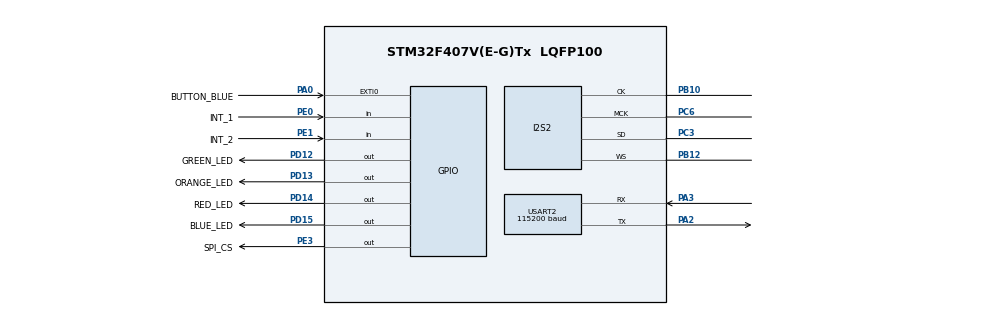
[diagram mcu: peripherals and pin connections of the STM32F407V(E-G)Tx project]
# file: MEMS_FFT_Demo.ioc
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Mcu.Family=STM32F4
PC3.Mode=Half_Duplex_Master
Dma.SPI2_RX.0.Instance=DMA1_Stream3
PD12.GPIO_Label=GREEN_LED
PH0-OSC_IN.Signal=RCC_OSC_IN
RCC.CortexFreq_Value=168000000
PB10.Mode=Half_Duplex_Master
PA2.GPIO_Speed=GPIO_SPEED_FREQ_MEDIUM
PA3.GPIO_Speed=GPIO_SPEED_FREQ_MEDIUM
RCC.SYSCLKSource=RCC_SYSCLKSOURCE_PLLCLK
ProjectManager.StackSize=0x400
PD13.Signal=GPIO_Output
RCC.HCLKFreq_Value=168000000
RCC.APB2TimFreq_Value=168000000
PC3.Signal=I2S2_SD
TIM3.Pulse-Output\ Compare1\ No\ Output=50000
PE1.Signal=GPIO_Input
RCC.AHBFreq_Value=168000000
PH0-OSC_IN.Mode=HSE-External-Oscillator
PE3.PinState=GPIO_PIN_SET
RCC.HSE_VALUE=8000000
PC14-OSC32_IN.Mode=LSE-External-Oscillator
PA14.Mode=Serial_Wire
TIM3.Prescaler=1679
Dma.SPI2_RX.0.MemDataAlignment=DMA_MDATAALIGN_HALFWORD
I2S2.DataFormat=I2S_DATAFORMAT_24B
Dma.SPI2_RX.0.MemInc=DMA_MINC_ENABLE
PH1-OSC_OUT.Mode=HSE-External-Oscillator
PD13.GPIO_Label=ORANGE_LED
Mcu.Package=LQFP100
PB12.Mode=Half_Duplex_Master
USART2.VirtualMode=VM_ASYNC
PD12.Signal=GPIO_Output
I2S2.Mode=I2S_MODE_MASTER_RX
PE0.GPIO_Label=INT_1
RCC.APB2CLKDivider=RCC_HCLK_DIV2
RCC.APB1TimFreq_Value=84000000
Dma.SPI2_RX.0.Direction=DMA_PERIPH_TO_MEMORY
Dma.Request0=SPI2_RX
PD15.Signal=GPIO_Output
PA3.Signal=USART2_RX
RCC.PLLSourceVirtual=RCC_PLLSOURCE_HSE
PC15-OSC32_OUT.Mode=LSE-External-Oscillator
I2S2.AudioFreq=I2S_AUDIOFREQ_48K
PD15.GPIO_Label=BLUE_LED
I2S2.Instance=SPI$Index
TIM3.Channel-Output\ Compare1\ No\ Output=TIM_CHANNEL_1
PDM2PCM.CHANNEL1_in_ptr_channels=1
Dma.SPI2_RX.0.Mode=DMA_CIRCULAR
PC6.Signal=I2S2_MCK
RCC.APB1CLKDivider=RCC_HCLK_DIV4
PC14-OSC32_IN.Signal=RCC_OSC32_IN
NVIC.USART2_IRQn=true\:0\:0\:false\:false\:true\:true\:true
USART2.BaudRate=115200
PA0-WKUP.GPIO_Label=BUTTON_BLUE
PA0-WKUP.Signal=GPXTI0
PA13.Signal=SYS_JTMS-SWDIO
PA3.Mode=Asynchronous
Dma.SPI2_RX.0.PeriphDataAlignment=DMA_PDATAALIGN_HALFWORD
ProjectManager.TargetToolchain=STM32CubeIDE
PC6.Mode=Master_Clock_Activated
I2S2.VirtualMode=I2S_MODE_MASTER
PDM2PCM.CHANNEL1_bit_order=PDM_FILTER_BIT_ORDER_MSB
PC15-OSC32_OUT.Signal=RCC_OSC32_OUT
PB10.Signal=I2S2_CK
TIM3.OC1Preload=DISABLE
PDM2PCM.CHANNEL1_out_ptr_channels=1
board=custom
VP_TIM3_VS_no_output1.Mode=Output Compare1 No Output
RCC.VCOOutputFreq_Value=336000000
PE1.GPIO_Label=INT_2
RCC.APB2Freq_Value=84000000
VP_PDM2PCM_VS_PDM2PCM.Mode=PDM2PCM_Channel
PH1-OSC_OUT.Signal=RCC_OSC_OUT
PD14.GPIO_Label=RED_LED
Dma.SPI2_RX.0.FIFOMode=DMA_FIFOMODE_DISABLE
PA13.Mode=Serial_Wire
Dma.SPI2_RX.0.Priority=DMA_PRIORITY_LOW
PE0.Signal=GPIO_Input
Mcu.Name=STM32F407V(E-G)Tx
PA2.Signal=USART2_TX
I2S2.FullDuplexMode=I2S_FULLDUPLEXMODE_DISABLE
PD14.Signal=GPIO_Output
RCC.48MHZClocksFreq_Value=84000000
RCC.SYSCLKFreq_VALUE=168000000
I2S2.ErrorAudioFreq=-2.34 %
PE3.GPIO_Speed=GPIO_SPEED_FREQ_MEDIUM
Dma.SPI2_RX.0.PeriphInc=DMA_PINC_DISABLE
PA14.Signal=SYS_JTCK-SWCLK
ProjectManager.HeapSize=0x200
RCC.HSI_VALUE=16000000
NVIC.PriorityGroup=NVIC_PRIORITYGROUP_4
RCC.PLLM=8
RCC.PLLN=336
PE3.Signal=GPIO_Output
PA2.Mode=Asynchronous
PA0-WKUP.GPIO_PuPd=GPIO_PULLDOWN
PE3.GPIO_Label=SPI_CS
NVIC.DMA1_Stream3_IRQn=true\:0\:0\:false\:false\:true\:false\:true
TIM3.TIM_MasterOutputTrigger=TIM_TRGO_OC1REF
RCC.APB1Freq_Value=42000000
VP_CRC_VS_CRC.Mode=CRC_Activate
I2S2.RealAudioFreq=46.875 KHz
I2S2.Standard=I2S_STANDARD_MSB
PB12.Signal=I2S2_WS

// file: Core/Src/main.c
//* USER CODE BEGIN Header */
/**
 ******************************************************************************
 * @file           : main.c
 * @brief          : Main program body
 ******************************************************************************
 * @attention
 *
 * <h2><center>&copy; Copyright (c) 2021 STMicroelectronics.
 * All rights reserved.</center></h2>
 *
 * This software component is licensed by ST under BSD 3-Clause license,
 * the "License"; You may not use this file except in compliance with the
 * License. You may obtain a copy of the License at:
 *                        opensource.org/licenses/BSD-3-Clause
 *
 ******************************************************************************
 */

/* GRUPPO 28 -> TOMMASO UGOLINI; RICCARDO PAOLINI; GIULIA KODRIC'; GIACOMO PETTA.
 *
 * 		PROGETTO 2
 *
 * ACCENNO ALLE SCELTE PROGETTUALI:
 * 		ABBIAMO DECISO DI FAR 'BLINKARE' IL LED ROSSO QUANDO LA TRASMISSIONE NON È ATTIVA.
 * 		INOLTRE QUANDO INTERROMPIAMO LA TRASMISSIONE METTIAMO IN PAUSA IL DMA
 * 		PER RISPARMIARE ENERGIA OLTRE AD INTERROMPERE L'ACCENSIONE DEI LED.
 * 		ABBIAMO ANCHE PENSATO DI INTRODURRE UNA DOPPIA SOGLIA AL POSTO DELLA SOGLIA SINGOLA
 * 		PER RIDURRE IL 'FLICKERING' DEI LED.
 */

/* USER CODE END Header */
#include "main.h"
#include "crc.h"
#include "dma.h"
#include "i2s.h"
#include "pdm2pcm.h"
#include "tim.h"
#include "usart.h"
#include "gpio.h"

/* USER CODE BEGIN Includes */
#include "stm32f4_discovery_lis3dsh.h"
#include <stdio.h>

#include <string.h>

#include <math.h>
#include "stm32f4xx.h"
#include "arm_math.h"
#include "math_helper.h"
#include "arm_const_structs.h"

#define FFT_SIZE 1024

//#define STREAM_RAW_DATA
//#define STREAM_FFT

/* USER CODE END Includes */

/* USER CODE BEGIN PTD */
typedef enum {FAILED = 0, PASSED = !FAILED} TestStatus;
/* USER CODE END PTD */

/* USER CODE BEGIN PD */
//#define __FPU_PRESENT             1U       /*!< FPU present                                   */
/* ----------------------------------------------------------------------
 * Defines for each of the tests performed
 * ------------------------------------------------------------------- */
/* USER CODE END PD */

/* USER CODE BEGIN PM */

typedef enum {STATE_IDLE,STATE_HALF,STATE_FULL} i2cState;

int16_t data_col[FFT_SIZE*2];
int counter_samples = 0;		//used as index for the array data_col
uint16_t txBuf[128];
uint16_t pdmRxBuf[128];
uint16_t MidBuffer[16];
uint8_t txstate = 0;
i2cState rxstate = 0;

// variables for the mean of each slice of the magnitude
float mean[4];

// transfer data from data to data_col
void append_data(uint16_t data)
{
	data_col[counter_samples++] = data;
}

float fft_in_buf[FFT_SIZE*2];		//FFT_SIZE=1024 -> size=2048
float signal_spectrum[FFT_SIZE/2];	//FFT_SIZE=1024 -> size=512
float fft_mag_out_buf[FFT_SIZE*2];	//FFT_SIZE=1024 -> size=2048

// UART variables
uint8_t dataReceived = 0;	//Indicates when data received and read from UART
uint8_t chRX = 0;	// contain character read from UART
char to_send[MAX_S];
uint8_t n_to_send=0;

// variable to indicate state
uint8_t streamActive = OFF;

// variables for FFT
uint32_t ifftFlag = 0;
uint32_t doBitReverse = 1;

/* USER CODE END PM */

void SystemClock_Config(void);

int main(void)
{

	/* MCU Configuration--------------------------------------------------------*/

	/* Reset of all peripherals, Initializes the Flash interface and the Systick. */
	HAL_Init();

	/* Configure the system clock */
	SystemClock_Config();

	/* Initialize all configured peripherals */
	MX_GPIO_Init();
	MX_DMA_Init();
	MX_TIM3_Init();
	MX_USART2_UART_Init();
	MX_I2S2_Init();
	MX_CRC_Init();
	MX_PDM2PCM_Init();
	/* USER CODE BEGIN 2 */

	//Configuring systick
	if (HAL_SYSTICK_Config(SystemCoreClock / (1000U / uwTickFreq)) > 0U){	//systick configuration
		return HAL_ERROR;
	}

	//Enabling UART Receiver Not Empty interrupt
	LL_USART_EnableIT_RXNE(USART2);
	//Enabling UART
	LL_USART_Enable(USART2);
	//Enabling microphone via I2S and using DMA to transfer data
	HAL_I2S_Receive_DMA(&hi2s2, &pdmRxBuf[0],64);
	HAL_I2S_DMAPause(&hi2s2);
	/* USER CODE END 2 */

	/* Infinite loop */
	/* USER CODE BEGIN WHILE */
	while (1)
	{

		//if i receive data from UART
		if (dataReceived == 1){
			dataReceived = 0;

			//if the received character is equal to what we expect
			if (chRX == START_CHAR) {
				streamActive = 1 - streamActive;	//toggling the value of streamActive

				printf("Stream Toggle\r\n");
			}
			else
				printf("Wrong command!\nPress 's' to start...\r\n");

			if(!streamActive){
				//Reset active LEDs
				HAL_I2S_DMAPause(&hi2s2);
				LL_GPIO_ResetOutputPin(GPIOD,LL_GPIO_PIN_15);
				LL_GPIO_ResetOutputPin(GPIOD,LL_GPIO_PIN_12);
				LL_GPIO_ResetOutputPin(GPIOD,LL_GPIO_PIN_13);
				LL_GPIO_ResetOutputPin(GPIOD,LL_GPIO_PIN_14);
			}

			if(streamActive)
				HAL_I2S_DMAResume(&hi2s2);
		}

		if(streamActive){

			// Initializing variables
			for(int i = 0; i < FFT_SIZE*2; i++){
				data_col[i] = 0;
				fft_mag_out_buf[i] = 0;
				fft_in_buf[i] = 0;

				switch (rxstate)
				{
				case STATE_HALF:
					PDM_Filter(&pdmRxBuf[0],&MidBuffer[0], &PDM1_filter_handler); 		//filtering
					for (int i=0; i<16;i++)
						append_data(MidBuffer[i]);	//transferring data from MidBuffer to data_col
					rxstate = STATE_IDLE;	//setting state to idle
					break;
				case STATE_FULL:
					PDM_Filter(&pdmRxBuf[64],&MidBuffer[0], &PDM1_filter_handler);	//filtering
					for (int i=0; i<16;i++)
						append_data(MidBuffer[i]); //transferring data from MidBuffer to data_col
					rxstate = STATE_IDLE;	//setting state to idle
					break;
				case STATE_IDLE:
					//do some task...
					break;
				}

				if(counter_samples >= FFT_SIZE){
					/* Copy data to preserve buffer content */
					for(int inx_data = 0; inx_data<FFT_SIZE; inx_data++)
						fft_in_buf[inx_data] = (float)data_col[inx_data];

					/* Reset index of the buffer accumulating PCM samples */
					counter_samples = 0;

					///// FFT
					arm_cfft_f32(&arm_cfft_sR_f32_len1024, fft_in_buf, ifftFlag, doBitReverse);

					///// MAGNITUDE
					arm_cmplx_mag_f32(fft_in_buf, fft_mag_out_buf, FFT_SIZE);

					/* Just keep the useful part of the spectrum (FFT points/2) */
					for(int inx_data = 0; inx_data<FFT_SIZE/2; inx_data++)
						signal_spectrum[inx_data] = fft_mag_out_buf[inx_data];

					/* Do your processing here */

					// data are already in signal_spectrum of size 512 float

					// dividing it into 4 parts means: 128 values for each part

					//mean for part 1
					arm_mean_f32(&signal_spectrum[0], MAG_SLICE_SIZE, &mean[FIRST_SLICE]);
					//mean for part 2
					arm_mean_f32(&signal_spectrum[MAG_SLICE_SIZE - 1], MAG_SLICE_SIZE, &mean[SECOND_SLICE]);
					//mean for part 3
					arm_mean_f32(&signal_spectrum[(MAG_SLICE_SIZE * 2) - 1], MAG_SLICE_SIZE, &mean[THIRD_SLICE]);
					//mean for part 4
					arm_mean_f32(&signal_spectrum[(MAG_SLICE_SIZE * 3) - 1], MAG_SLICE_SIZE, &mean[FOURTH_SLICE]);

					// now we have the means for every slice of the magnified spectrum in the array mean[]

					// data are ready to be transmitted

					// transmit via UART

					//using this function to put in the string to_send the message to send via UART
					sprintf(to_send,"MEAN_1:%2.2f\tMEAN_2:%2.2f\tMEAN_3:%2.2f\tMEAN_4:%2.2f\r\n", mean[FIRST_SLICE], mean[SECOND_SLICE], mean[THIRD_SLICE], mean[FOURTH_SLICE]);
					//calculating length of the string to send via UART
					n_to_send=(uint8_t)strlen(to_send);

					LL_USART_EnableIT_TC(USART2); //enableTX interrupt

					// BLUE_LED ON if mean[FIRST_SLICE] higher than HIGH THRESHOLD
					if(mean[FIRST_SLICE] > H_THRESHOLD)
						LL_GPIO_SetOutputPin(GPIOD,LL_GPIO_PIN_15);
					// BLUE_LED OFF if mean[FIRST_SLICE] lower than LOW THRESHOLD
					else if(mean[FIRST_SLICE] < L_THRESHOLD)
						LL_GPIO_ResetOutputPin(GPIOD,LL_GPIO_PIN_15);

					// GREEN_LED ON if mean[SECOND_SLICE] higher than HIGH THRESHOLD
					if(mean[SECOND_SLICE] > H_THRESHOLD)
						LL_GPIO_SetOutputPin(GPIOD,LL_GPIO_PIN_12);
					// GREEN_LED OFF if mean[SECOND_SLICE] lower than LOW THRESHOLD
					else if(mean[SECOND_SLICE] < L_THRESHOLD)
						LL_GPIO_ResetOutputPin(GPIOD,LL_GPIO_PIN_12);

					// ORANGE_LED ON if mean[THIRD_SLICE] higher than HIGH THRESHOLD
					if(mean[THIRD_SLICE] > H_THRESHOLD)
						LL_GPIO_SetOutputPin(GPIOD,LL_GPIO_PIN_13);
					// ORANGE_LED OFF if mean[THIRD_SLICE] lower than LOW THRESHOLD
					else if(mean[THIRD_SLICE] < L_THRESHOLD)
						LL_GPIO_ResetOutputPin(GPIOD,LL_GPIO_PIN_13);

					// RED_LED ON if mean[FOURTH_SLICE] higher than HIGH THRESHOLD
					if(mean[FOURTH_SLICE] > H_THRESHOLD)
						LL_GPIO_SetOutputPin(GPIOD,LL_GPIO_PIN_14);
					// RED_LED OFF if mean[FOURTH_SLICE] lower than LOW THRESHOLD
					else if(mean[FOURTH_SLICE] < L_THRESHOLD)
						LL_GPIO_ResetOutputPin(GPIOD,LL_GPIO_PIN_14);

				}
			}

#ifdef STREAM_RAW_DATA
			for(int inx_data = 0; inx_data<FFT_SIZE; inx_data++)
			{
				printf("%d\r\n", data_col[inx_data]);

			}
#endif

#ifdef STREAM_FFT
			for(int inx_data = 0; inx_data<FFT_SIZE/2; inx_data++)
			{
				printf("%2.2f\r\n", fft_mag_out_buf[inx_data]);
			}
#endif

#ifdef STREAM_RAW_DATA
			while(1);
#endif

#ifdef STREAM_FFT
			while(1);
#endif

		}

	}

	/* USER CODE END WHILE */

}

void SystemClock_Config(void)
{
	LL_FLASH_SetLatency(LL_FLASH_LATENCY_5);
	while(LL_FLASH_GetLatency()!= LL_FLASH_LATENCY_5)
	{
	}
	LL_PWR_SetRegulVoltageScaling(LL_PWR_REGU_VOLTAGE_SCALE1);
	LL_RCC_HSE_Enable();

	/* Wait till HSE is ready */
	while(LL_RCC_HSE_IsReady() != 1)
	{

	}
	LL_RCC_PLL_ConfigDomain_SYS(LL_RCC_PLLSOURCE_HSE, LL_RCC_PLLM_DIV_8, 336, LL_RCC_PLLP_DIV_2);
	LL_RCC_PLLI2S_ConfigDomain_I2S(LL_RCC_PLLSOURCE_HSE, LL_RCC_PLLI2SM_DIV_8, 192, LL_RCC_PLLI2SR_DIV_2);
	LL_RCC_PLL_Enable();

	/* Wait till PLL is ready */
	while(LL_RCC_PLL_IsReady() != 1)
	{

	}
	LL_RCC_PLLI2S_Enable();

	/* Wait till PLL is ready */
	while(LL_RCC_PLLI2S_IsReady() != 1)
	{

	}
	LL_RCC_SetAHBPrescaler(LL_RCC_SYSCLK_DIV_1);
	LL_RCC_SetAPB1Prescaler(LL_RCC_APB1_DIV_4);
	LL_RCC_SetAPB2Prescaler(LL_RCC_APB2_DIV_2);
	LL_RCC_SetSysClkSource(LL_RCC_SYS_CLKSOURCE_PLL);

	/* Wait till System clock is ready */
	while(LL_RCC_GetSysClkSource() != LL_RCC_SYS_CLKSOURCE_STATUS_PLL)
	{

	}
	LL_SetSystemCoreClock(168000000);

	/* Update the time base */
	if (HAL_InitTick (TICK_INT_PRIORITY) != HAL_OK)
	{
		Error_Handler();
	}
	LL_RCC_SetI2SClockSource(LL_RCC_I2S1_CLKSOURCE_PLLI2S);
}

/* USER CODE BEGIN 4 */

/*
 * This function finds the maximum value in an array and returns its index in the array.
 * @param 	a[]		array to find maximum
 * @param 	n 		size of the array
 * @return 	index 	array index of maximum value in array
 */

int __io_putchar(int ch)
{
	/* Place your implementation of fputc here */
	/* e.g. write a character to the USART */
	LL_USART_TransmitData8(USART2, (uint8_t)ch);

	/* Loop until the end of transmission */
	while (LL_USART_IsActiveFlag_TC(USART2) == 0)
	{}

	return ch;
}

void HAL_I2S_RxHalfCpltCallback (I2S_HandleTypeDef *hi2s) {
	rxstate = STATE_HALF;
}

void HAL_I2S_RxCpltCallback (I2S_HandleTypeDef *hi2s) {
	rxstate = STATE_FULL;
}

/* USER CODE END 4 */

void Error_Handler(void)
{
	__disable_irq();
	while (1)
	{
	}
}

/************************ (C) COPYRIGHT STMicroelectronics *****END OF FILE****/
